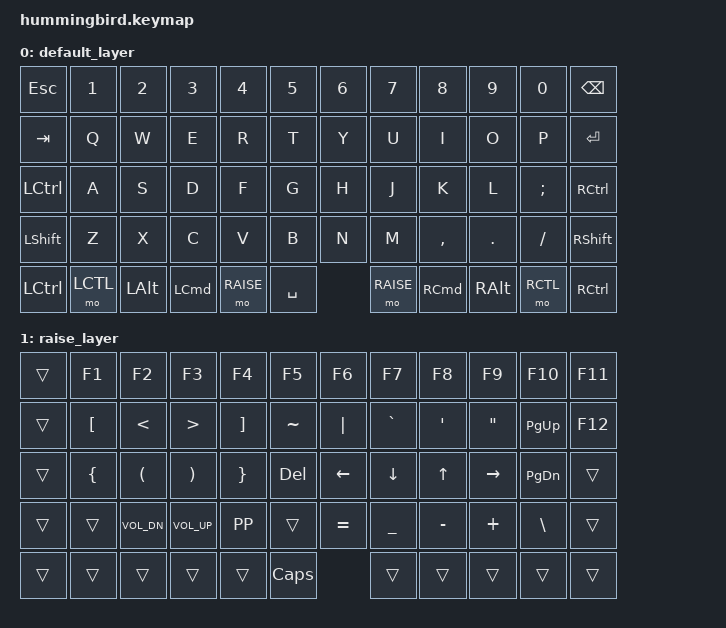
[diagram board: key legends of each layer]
/*
 * Copyright (c) 2022 The ZMK Contributors
 *
 * SPDX-License-Identifier: MIT
 */

#include <behaviors.dtsi>
#include <dt-bindings/zmk/keys.h>

/*
#define DEF_L 0
#define NAV_L 1
#define NUM_L 2
#define SYM_L 3

// Using layer taps on thumbs, having quick tap as well helps w/ repeating space/backspace
&lt { quick-tap-ms = <200>; };

/ {
    behaviors {
        hm: homerow_mods {
            compatible = "zmk,behavior-hold-tap";
            #binding-cells = <2>;
            tapping-term-ms = <225>;
            flavor = "tap-preferred";
            bindings = <&kp>, <&kp>;
        };
    };

    combos {
        compatible = "zmk,combos";
        combo_z {
            timeout-ms = <50>;
            key-positions = <20 21>;
            bindings = <&kp Z>;
        };
        combo_b {
            timeout-ms = <50>;
            key-positions = <21 22>;
            bindings = <&kp B>;
        };

        combo_y {
            timeout-ms = <50>;
            key-positions = <23 24>;
            bindings = <&kp Y>;
        };

        combo_slash {
            timeout-ms = <50>;
            key-positions = <24 25>;
            bindings = <&kp SLASH>;
        };
    };

    keymap {
        compatible = "zmk,keymap";

        default_layer {
            bindings = <
                &kp Q      &kp W      &kp E       &kp R           &kp T        &kp H            &kp U          &kp I       &kp O      &kp P
                &hm LGUI A &hm LALT S &hm LCTRL D &hm LSHFT F     &kp G        &kp N            &hm RSHFT J    &hm RCTRL K &hm LALT L &hm RGUI SQT
                           &kp X      &kp C       &kp V                                         &kp M          &kp COMMA  &kp DOT
                                                  &lt NAV_L TAB  &kp RET       &lt NUM_L SPACE  &lt SYM_L BSPC
            >;
        };

        nav_layer {
            display-name = "Nav";
            bindings = <
                &trans     &trans     &trans      &trans          &trans       &trans           &kp HOME       &kp UP &kp PG_UP  &trans
                &trans     &trans     &trans      &trans          &trans       &trans           &kp LEFT       &kp DOWN &kp RIGHT   &trans
                           &trans     &trans      &trans                                        &kp END        &trans   &kp PG_DN
                                                  &trans          &trans       &kp ESC          &kp DEL
            >;
        };

        num_layer {
            display-name = "Num";
            bindings = <
                &kp LBKT   &kp N7     &kp N8      &kp N9          &kp RBKT      &trans          &trans         &trans      &trans     &trans
                &kp SEMI   &kp N4     &kp N5      &kp N6          &kp EQUAL     &trans          &trans         &trans      &trans     &trans
                           &kp N1     &kp N2      &kp N3                                        &trans         &trans      &trans
                                                  &kp N0          &kp MINUS     &trans          &trans
            >;
        };

        sym_layer {
            display-name = "Sym";
            bindings = <
                &kp LBRC   &kp LS(N7) &kp LS(N8)  &kp LS(N9)      &kp RBRC      &trans          &trans         &trans      &trans     &trans
                &kp COLON  &kp LS(N4) &kp LS(N5)  &kp LS(N6)      &kp PLUS      &trans          &trans         &trans      &trans     &trans
                           &kp LS(N1) &kp LS(N2)  &kp LS(N3)                                    &trans         &trans      &trans
                                                  &kp LS(N0)      &kp UNDER     &trans          &trans
            >;
        };
    };
};
*/


#define DEFAULT 0
#define RAISE 1

/ {
	keymap {
		compatible = "zmk,keymap";

		default_layer {
			bindings = <
&kp ESC    &kp N1   &kp N2   &kp N3   &kp N4   &kp N5   &kp N6  &kp N7    &kp   N8  &kp  N9  &kp  N0  &kp BSPC
&kp TAB    &kp Q    &kp W    &kp E    &kp R    &kp T    &kp Y   &kp U     &kp   I   &kp  O   &kp   P  &kp RET
&kp LCTL   &kp A    &kp S    &kp D    &kp F    &kp G    &kp H   &kp J     &kp   K   &kp  L   &kp SEMI &kp RCTL
&kp LSHFT  &kp Z    &kp X    &kp C    &kp V    &kp B    &kp N   &kp M     &kp COMMA &kp DOT  &kp FSLH &kp RSHFT
&kp LCTL   &mo LCTL &kp LALT &kp LCMD &mo RAISE    &kp SPACE    &mo RAISE &kp RCMD  &kp RALT &mo RCTL &kp RCTL
			>;
		};

		raise_layer {
			bindings = <
&trans     &kp F1     &kp F2        &kp F3        &kp F4     &kp F5     &kp F6     &kp F7     &kp F8     &kp F9     &kp F10    &kp F11
&trans     &kp LBKT   &kp LT        &kp GT        &kp RBKT   &kp TILDE  &kp PIPE   &kp GRAVE  &kp APOS   &kp DQT    &kp PG_UP  &kp F12
&trans     &kp LBRC   &kp LPAR      &kp RPAR      &kp RBRC   &kp DEL    &kp LEFT   &kp DOWN   &kp UP     &kp RIGHT  &kp PG_DN  &trans
&trans     &trans     &kp K_VOL_DN  &kp K_VOL_UP  &kp K_PP   &trans     &kp EQUAL  &kp UNDER  &kp MINUS  &kp PLUS   &kp BSLH   &trans
&trans     &trans     &trans        &trans        &trans         &kp CAPS          &trans     &trans     &trans     &trans     &trans
			>;
		};
};
